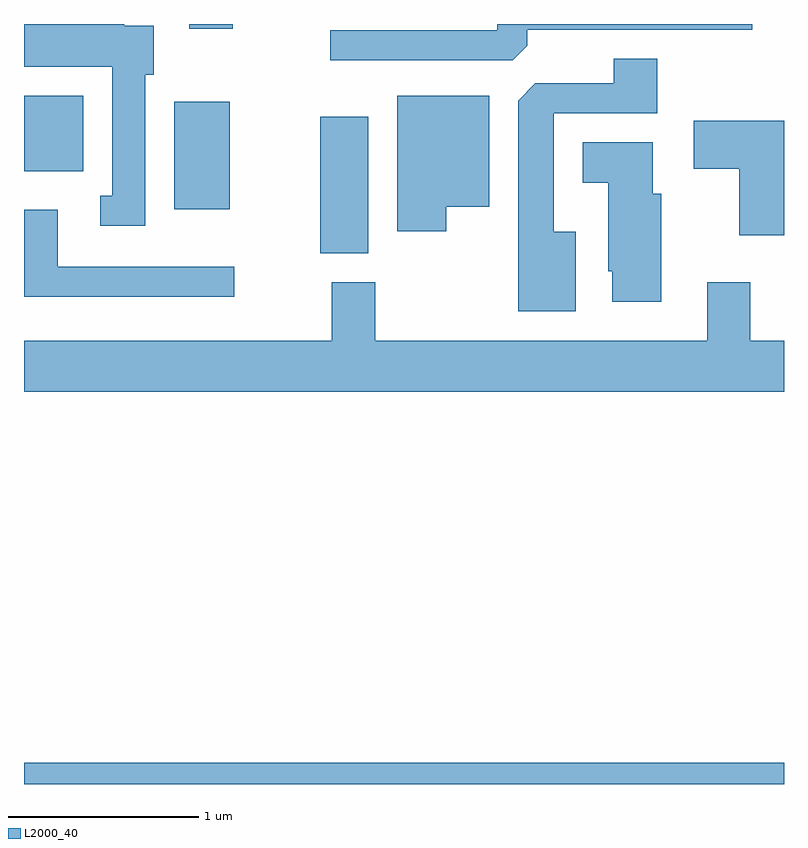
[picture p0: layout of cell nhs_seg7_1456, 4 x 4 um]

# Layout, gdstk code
import gdstk
lib = gdstk.Library(unit=1e-6, precision=1e-09)
def R(c, l, rs):  # rectangles x0, y0, x1, y1
    for r in rs: c.add(gdstk.rectangle(r[:2], r[2:], *l))
def P(c, l, *ps):  # polygons
    for p in ps: c.add(gdstk.Polygon(p, *l))
L2000_40 = (2000, 40)

nhs_seg7_1456 = lib.new_cell('nhs_seg7_1456')
R(nhs_seg7_1456, L2000_40, [(229.611,1712.252,233.611,1712.364), (231.171,1715.046,231.424,1715.764), (230.401,1715.276,230.694,1715.844), (229.611,1715.476,229.924,1715.874), (230.481,1716.226,230.709,1716.252)])
P(nhs_seg7_1456, L2000_40, [(232.259,1716.137),(232.259,1716.221),(233.443,1716.221),(233.443,1716.252),(232.101,1716.252),(232.101,1716.219),(231.223,1716.219),(231.223,1716.061),(232.184,1716.061)],
  [(230.249,1715.986),(230.294,1715.986),(230.294,1716.244),(230.139,1716.244),(230.139,1716.252),(229.611,1716.252),(229.611,1716.026),(230.076,1716.026),(230.076,1715.349),(230.013,1715.349),(230.013,1715.191),(230.249,1715.191)],
  [(232.514,1715.159),(232.399,1715.159),(232.399,1715.781),(232.944,1715.781),(232.944,1716.069),(232.716,1716.069),(232.716,1715.939),(232.302,1715.939),(232.211,1715.849),(232.211,1714.741),(232.514,1714.741)],
  [(231.834,1715.291),(232.059,1715.291),(232.059,1715.874),(231.576,1715.874),(231.576,1715.161),(231.834,1715.161)],
  [(233.611,1715.744),(233.136,1715.744),(233.136,1715.491),(233.376,1715.491),(233.376,1715.141),(233.611,1715.141)],
  [(232.964,1715.359),(232.919,1715.359),(232.919,1715.629),(232.551,1715.629),(232.551,1715.416),(232.686,1715.416),(232.686,1714.951),(232.706,1714.951),(232.706,1714.791),(232.964,1714.791)],
  [(230.718,1714.974),(229.789,1714.974),(229.789,1715.274),(229.611,1715.274),(229.611,1714.816),(230.718,1714.816)],
  [(233.611,1714.584),(233.434,1714.584),(233.434,1714.894),(233.206,1714.894),(233.206,1714.584),(231.459,1714.584),(231.459,1714.894),(231.231,1714.894),(231.231,1714.584),(229.611,1714.584),(229.611,1714.316),(233.611,1714.316)])

lib.write_gds('nhs_seg7_1456.gds')
